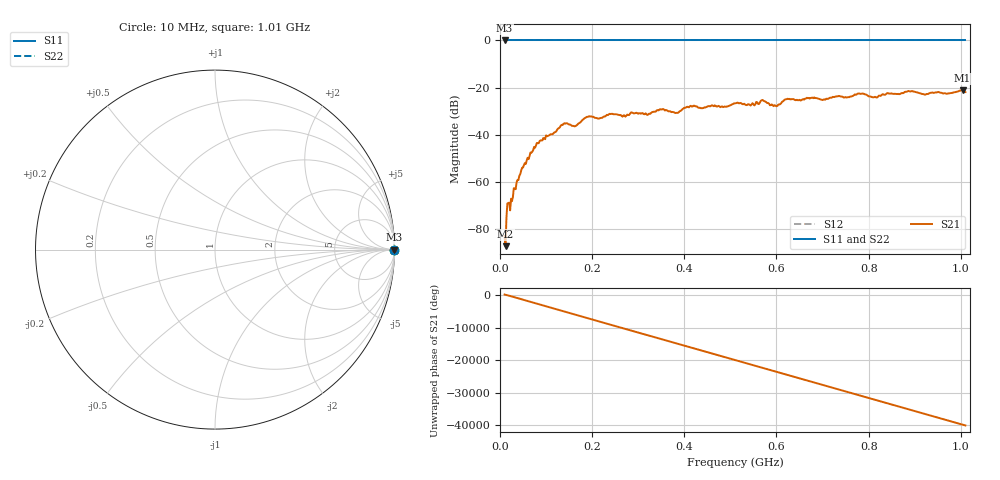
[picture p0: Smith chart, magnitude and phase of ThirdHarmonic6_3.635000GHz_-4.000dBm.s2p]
! 8/17/2025 12:11:57 PM
! C:\ANRITSUVNA\TEMP\TEMP.S2P
! CHANNEL.1
! TR.MEASUREMENT
! RAW.DATA
! RF.CORRECTION.OFF
! AVERAGING.OFF
! IF.BANDWIDTH: 5KHZ
! SWEEPTYPE:  FREQ.SWEEP(Linear)
! Reference Plane Port Info
! PORT:  PORT1  PORT2
! DISTANCE:  0  m  0  m
! TIME:  0  s  0  s
! PHASE.OFFSET:  0  deg.  0  deg.
! LOSS:  0  dB  0  dB
! REF.LOSS:  0  dB  0  dB
! REF.FREQ:  0  Hz  0  Hz
! Power Info
! POWER:  -20  dBm  -20  dBm
! EFF.POWER:  -20  dBm  -20  dBm
! SOURCE.ATTEN:  0  dB  0  dB
! TEST.ATTEN:  0  dB  0  dB
# GHZ S RI R 50.0
! FREQ.GHZ  S11RE  S11IM  S21RE  S21IM  S12RE  S12IM  S22RE  S22IM
!; PortSelection: Port_12
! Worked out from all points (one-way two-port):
!   501 points, 10 MHz to 1.01 GHz, reference 50 ohm
!   highest |S21| = -21.13 dB at 1.004 GHz (marker M1); lowest = -87.1 dB at 12 MHz (marker M2)
!   lowest |S11| = 0.0 dB at 10 MHz (marker M3)
!   |S11| at or under -10 dB: nowhere
!   |S22| runs from 0.0 to 0.0 dB; largest |S21 - S12| = 1.1
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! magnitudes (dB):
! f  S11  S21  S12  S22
! 10 MHz  0.0  -82.8  0.0  0.0
! 12 MHz  0.0  -87.1  0.0  0.0
! 20 MHz  0.0  -68.6  0.0  0.0
! 24 MHz  0.0  -67.0  0.0  0.0
! 46 MHz  0.0  -55.0  0.0  0.0
! 78 MHz  0.0  -44.5  0.0  0.0
! 136 MHz  0.0  -35.8  0.0  0.0
! 162 MHz  0.0  -36.4  0.0  0.0
! 178 MHz  0.0  -33.9  0.0  0.0
! 192 MHz  0.0  -32.2  0.0  0.0
! 322 MHz  0.0  -31.2  0.0  0.0
! 344 MHz  0.0  -29.6  0.0  0.0
! 384 MHz  0.0  -30.6  0.0  0.0
! 416 MHz  0.0  -27.9  0.0  0.0
! 510 MHz  0.0  -26.6  0.0  0.0
! 570 MHz  0.0  -25.2  0.0  0.0
! 598 MHz  0.0  -27.6  0.0  0.0
! 622 MHz  0.0  -24.8  0.0  0.0
! 678 MHz  0.0  -24.2  0.0  0.0
! 844 MHz  0.0  -22.5  0.0  0.0
! 1.004 GHz  0.0  -21.1  0.0  0.0
! 1.01 GHz  0.0  -21.9  0.0  0.0
